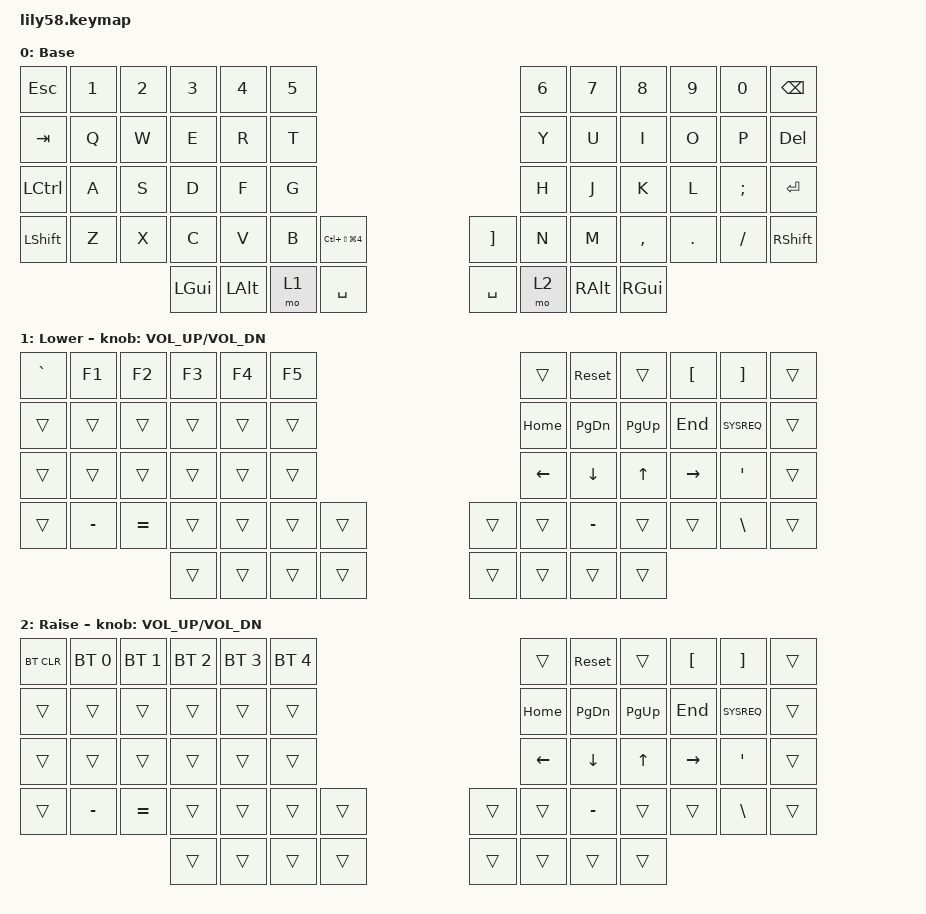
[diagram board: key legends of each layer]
/*
 * Copyright (c) 2020 The ZMK Contributors
 *
 * SPDX-License-Identifier: MIT
 */

#include <behaviors.dtsi>
#include <dt-bindings/zmk/bt.h>
#include <dt-bindings/zmk/keys.h>

/ {
    behaviors {
        caps_word: caps_word {
            compatible = "zmk,behavior-caps-word";
            label = "CAPS_WORD";
            #binding-cells = <0>;
            continue-list = <UNDERSCORE>;
        };
    };

    keymap {
        compatible = "zmk,keymap";

        default_layer {
            // ------------------------------------------------------------------------------------------------------------
            // |  ESC  |  1  |  2  |  3   |  4   |  5   |                   |  6   |  7    |  8    |  9   |   0   |   `   |
            // |  TAB  |  Q  |  W  |  E   |  R   |  T   |                   |  Y   |  U    |  I    |  O   |   P   |   -   |
            // |  CTRL |  A  |  S  |  D   |  F   |  G   |                   |  H   |  J    |  K    |  L   |   ;   |   '   |
            // | SHIFT |  Z  |  X  |  C   |  V   |  B   |   "["  |  |  "]"  |  N   |  M    |  ,    |  .   |   /   | SHIFT |
            //                     | ALT  | GUI  | LOWER|  SPACE |  | ENTER | RAISE| BSPC  | GUI   |

            display-name = "Base";
            bindings = <
&kp ESC    &kp N1  &kp N2  &kp N3        &kp N4        &kp N5                                         &kp N6  &kp N7         &kp N8     &kp N9   &kp N0    &kp BACKSPACE
&kp TAB    &kp Q   &kp W   &kp E         &kp R         &kp T                                          &kp Y   &kp U          &kp I      &kp O    &kp P     &kp DEL
&kp LCTRL  &kp A   &kp S   &kp D         &kp F         &kp G                                          &kp H   &kp J          &kp K      &kp L    &kp SEMI  &kp RET
&kp LSHFT  &kp Z   &kp X   &kp C         &kp V         &kp B   &kp LC(LS(LG(NUMBER_4)))    &kp RBKT   &kp N   &kp M          &kp COMMA  &kp DOT  &kp FSLH  &kp RSHFT
                           &kp LEFT_GUI  &kp LEFT_ALT  &mo 1   &kp SPACE                   &kp SPACE  &mo 2   &kp RIGHT_ALT  &kp RGUI
            >;
        };

        lower_layer {
            // ------------------------------------------------------------------------------------------------------------
            // | BTCLR | BT1 | BT2 |  BT3 |  BT4 |  BT5 |                   |      |       |       |      |       |       |
            // |  F1   |  F2 |  F3 |  F4  |  F5  |  F6  |                   |  F7  |  F8   |  F9   |  F10 |  F11  |  F12  |
            // |   `   |  !  |  @  |  #   |  $   |  %   |                   |  ^   |  &    |  *    |  (   |   )   |   ~   |
            // |       |     |     |      |      |      |        |  |       |      |  _    |  +    |  {   |   }   |  "|"  |
            //                     |      |      |      |        |  |       |      |       |       |

            display-name = "Lower";
            bindings = <
&kp GRAVE  &kp F1     &kp F2     &kp F3  &kp F4  &kp F5                    &trans          &sys_reset  &trans     &kp LEFT_BRACKET  &kp RIGHT_BRACKET  &trans
&trans     &trans     &trans     &trans  &trans  &trans                    &kp HOME        &kp PG_DN   &kp PG_UP  &kp END           &kp SYSREQ         &trans
&trans     &trans     &trans     &trans  &trans  &trans                    &kp LEFT_ARROW  &kp DOWN    &kp UP     &kp RIGHT         &kp SQT            &trans
&trans     &kp MINUS  &kp EQUAL  &trans  &trans  &trans  &trans    &trans  &trans          &kp MINUS   &trans     &trans            &kp BACKSLASH      &trans
                                 &trans  &trans  &trans  &trans    &trans  &trans          &trans      &trans
            >;

            sensor-bindings = <&inc_dec_kp C_VOL_UP C_VOL_DN>;
        };

        raise_layer {
            display-name = "Raise";
            bindings = <
&bt BT_CLR  &bt BT_SEL 0  &bt BT_SEL 1  &bt BT_SEL 2  &bt BT_SEL 3  &bt BT_SEL 4                    &trans          &sys_reset  &trans     &kp LEFT_BRACKET  &kp RIGHT_BRACKET  &trans
&trans      &trans        &trans        &trans        &trans        &trans                          &kp HOME        &kp PG_DN   &kp PG_UP  &kp END           &kp SYSREQ         &trans
&trans      &trans        &trans        &trans        &trans        &trans                          &kp LEFT_ARROW  &kp DOWN    &kp UP     &kp RIGHT         &kp SQT            &trans
&trans      &kp MINUS     &kp EQUAL     &trans        &trans        &trans        &trans    &trans  &trans          &kp MINUS   &trans     &trans            &kp BACKSLASH      &trans
                                        &trans        &trans        &trans        &trans    &trans  &trans          &trans      &trans
            >;

            sensor-bindings = <&inc_dec_kp C_VOL_UP C_VOL_DN>;
        };

        extra_1 { status = "reserved"; };

        extra_2 { status = "reserved"; };

        extra_3 { status = "reserved"; };
    };
};
